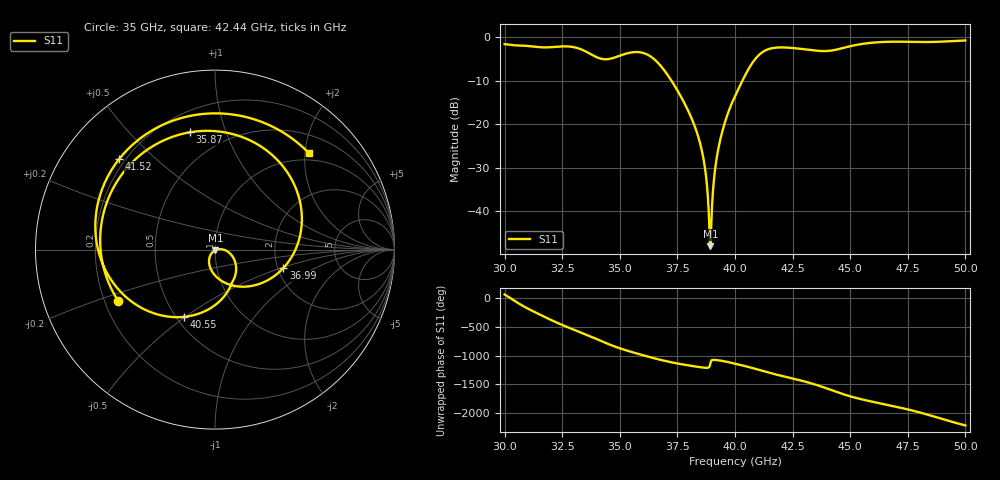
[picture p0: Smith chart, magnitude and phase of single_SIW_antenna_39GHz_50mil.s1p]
! Touchstone file from project single_SIW_antenna_39GHz_50mil
! Exported from HFSS 2017.0.0
! Variables:
!  $D1 = 1.82692307692308mm
!  $Disk_shift = 0mm
!  $G1 = 0.243589743589744mm
!  $G2 = 0.608974358974359mm
!  $S0 = 50mil
!  $S1 = 0.243589743589744mm
!  $S2 = 4.87179487179487mm
!  $SL = 1.46153846153846mm
!  $SW = 0.584615384615385mm
!  $VL = 1.82692307692308mm
!  $VW = 0.618717948717949mm
!  $W = 3.02051282051282mm
!  $W1 = 3.02051282051282mm
!  $extension_from_slot = 4.87179487179487mm
!  $length = 21.9121153846154mm
!  $offset = 0.5mm
!  $patch_step = 3.34935897435897mm
!  $slot_center_to_short = 5.02403846153846mm
!  $slot_side = 0.730769230769231mm
!  $slot_step = 3.34935897435897mm
!  $substrate_edge = 2.23290598290598mm
!  $width = 6.04102564102564mm
!  brick_dist = 0.608974358974359mm
!Data is not renormalized
# GHZ S MA
! Modal data exported
! Port[1] = 1:1
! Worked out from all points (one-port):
!   2001 points, 30 GHz to 50 GHz, reference per port
!   lowest |S11| = -48.0 dB at 38.93 GHz (marker M1), VSWR 1.01
!   |S11| at or under -10 dB: 37.24 GHz to 40.32 GHz (3.084 GHz wide, 7.95 % of centre)
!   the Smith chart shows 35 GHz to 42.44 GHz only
!   S11 on the Smith chart (normalised r, x): 35 GHz: 0.26, -0.23; 35.87 GHz: 0.32, +0.76; 36.99 GHz: 2.14, -0.52; 40.55 GHz: 0.55, -0.49; 41.52 GHz: 0.18, +0.39; 42.44 GHz: 0.85, +2.09
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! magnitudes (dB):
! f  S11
! 30 GHz  -1.6
! 32.5 GHz  -2.2
! 34.25 GHz  -5.1
! 35 GHz  -4.3
! 35.87 GHz  -3.5
! 36.42 GHz  -4.8
! 36.99 GHz  -8.1
! 37.5 GHz  -12.3
! 38.11 GHz  -18.6
! 38.49 GHz  -24.5
! 38.7 GHz  -30.2
! 38.77 GHz  -33.3
! 38.86 GHz  -40.1
! 38.93 GHz  -48.0
! 38.99 GHz  -40.2
! 39.14 GHz  -30.2
! 39.3 GHz  -25.0
! 39.61 GHz  -18.8
! 40 GHz  -13.7
! 40.55 GHz  -7.7
! 41.02 GHz  -4.2
! 41.52 GHz  -2.7
! 42.44 GHz  -2.5
! 42.5 GHz  -2.5
! 43.93 GHz  -3.2
! 45 GHz  -2.1
! 47.5 GHz  -1.1
! 50 GHz  -0.8
